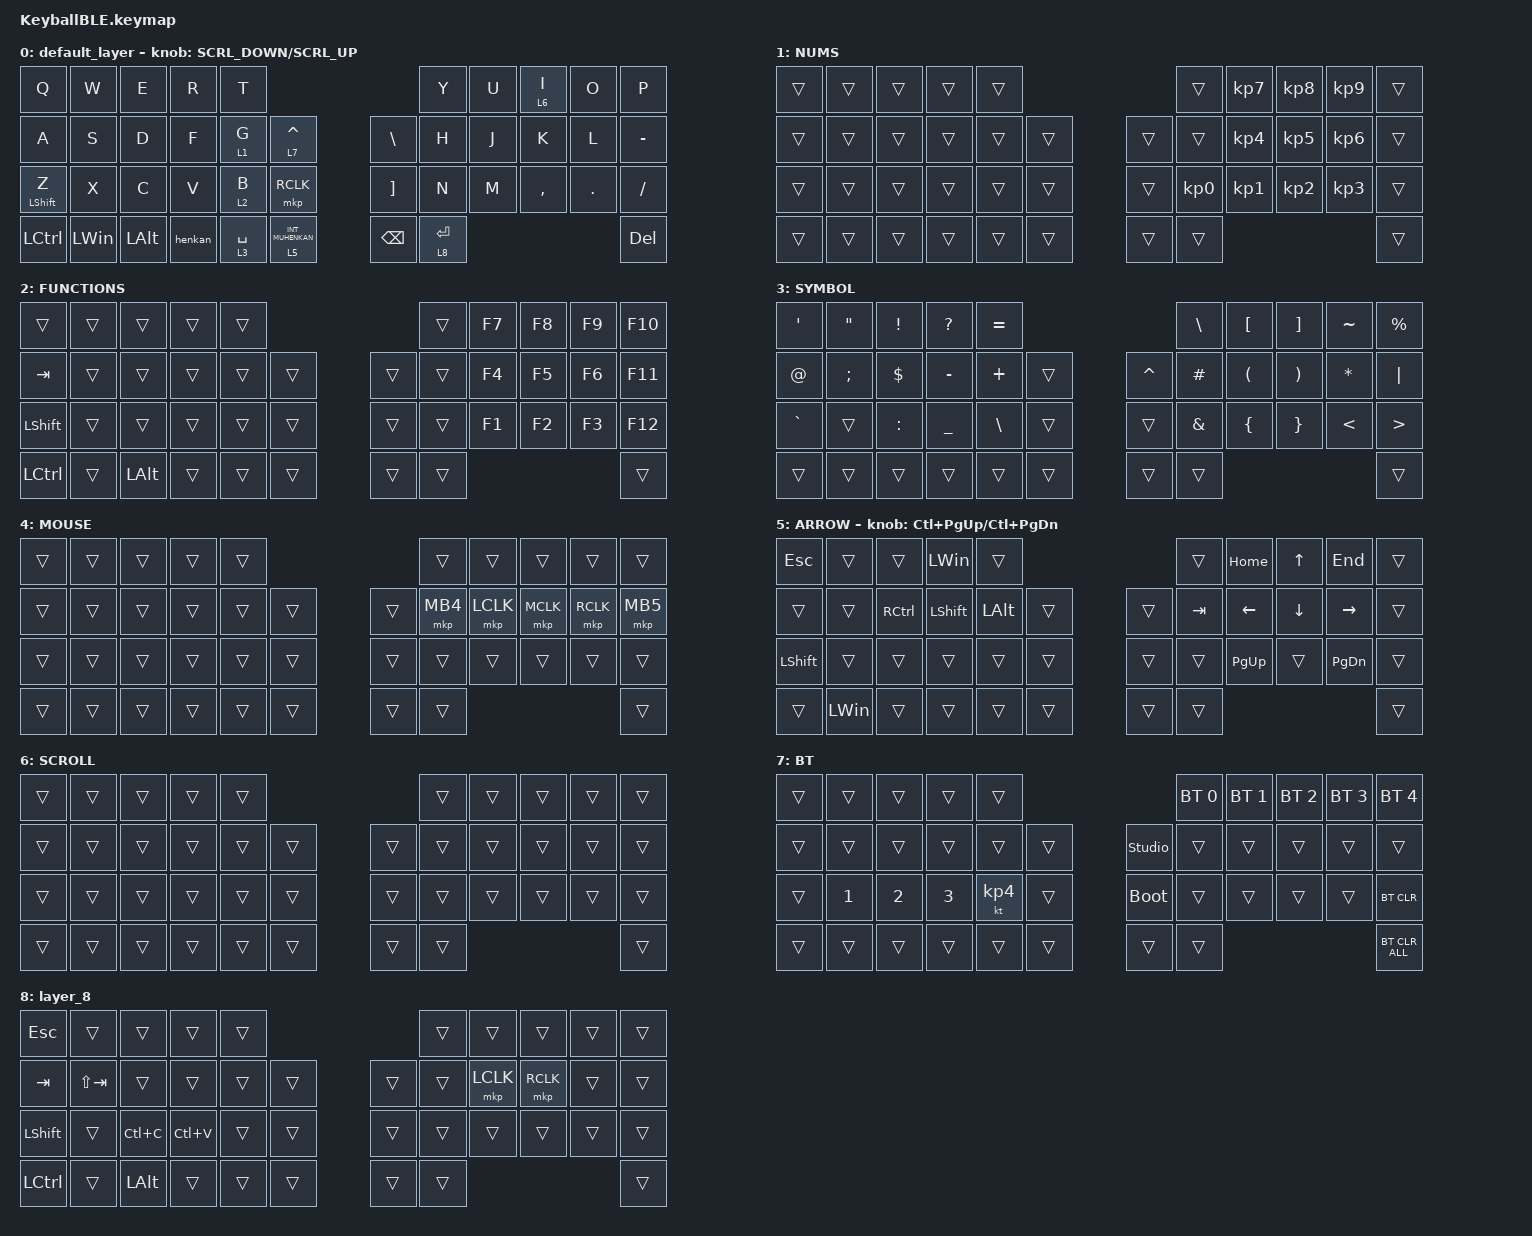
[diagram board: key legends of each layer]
#define ZMK_POINTING_DEFAULT_SCRL_VAL 120    // default: 10

#include <behaviors.dtsi>
#include <dt-bindings/zmk/bt.h>
#include <dt-bindings/zmk/keys.h>
#include <dt-bindings/zmk/pointing.h>

#define MOUSE 4
#define SCROLL 5
#define NUM 6

&mt {
    flavor = "balanced";
    quick-tap-ms = <0>;
};

/ {
    combos {
        compatible = "zmk,combos";

        double_quotation {
            bindings = <&kp DOUBLE_QUOTES>;
            key-positions = <20 21>;
        };
    };

    macros {
        to_layer_0: to_layer_0 {
            compatible = "zmk,behavior-macro-one-param";
            #binding-cells = <1>;
            bindings = <&to 0 &macro_param_1to1 &kp MACRO_PLACEHOLDER>;
            label = "TO_LAYER_0";
        };

        henkan: new_macro {
            compatible = "zmk,behavior-macro";
            #binding-cells = <0>;
            bindings =
                <&macro_press>,
                <&kp LEFT_ALT>,
                <&macro_press>,
                <&kp GRAVE>,
                <&macro_release>,
                <&kp LEFT_ALT>,
                <&macro_release>,
                <&kp GRAVE>;

            label = "NEW_MACRO";
        };
    };

    behaviors {
        lt_to_layer_0: lt_to_layer_0 {
            compatible = "zmk,behavior-hold-tap";
            label = "LAYER_TAP_TO_0";
            bindings = <&mo>, <&to_layer_0>;

            #binding-cells = <2>;
            tapping-term-ms = <200>;
        };

        ROTATE: ROTATE {
            compatible = "zmk,behavior-sensor-rotate-var";
            label = "ROTATE";
            #sensor-binding-cells = <2>;
            bindings = <&msc>, <&msc>;

            tap-ms = <20>;
        };
    };

    keymap {
        compatible = "zmk,keymap";

        default_layer {
            bindings = <
&kp Q             &kp W         &kp E         &kp R    &kp T                                                              &kp Y        &kp U  &lt 6 I    &kp O    &kp P
&kp A             &kp S         &kp D         &kp F    &lt 1 G      &lt_to_layer_0 7 CARET             &kp BACKSLASH      &kp H        &kp J  &kp K      &kp L    &kp MINUS
&mt LEFT_SHIFT Z  &kp X         &kp C         &kp V    &lt 2 B      &mkp RCLK                          &kp RIGHT_BRACKET  &kp N        &kp M  &kp COMMA  &kp DOT  &kp SLASH
&kp LCTRL         &kp LEFT_WIN  &kp LEFT_ALT  &henkan  &lt 3 SPACE  &lt_to_layer_0 5 INT_MUHENKAN      &kp BACKSPACE      &lt 8 ENTER                             &kp DEL
            >;

            sensor-bindings = <&ROTATE SCRL_DOWN SCRL_UP>;
        };

        NUMS {
            bindings = <
&trans  &trans  &trans  &trans  &trans                      &trans           &kp KP_NUMBER_7  &kp KP_NUMBER_8  &kp KP_NUMBER_9  &trans
&trans  &trans  &trans  &trans  &trans  &trans      &trans  &trans           &kp KP_NUMBER_4  &kp KP_NUMBER_5  &kp KP_NUMBER_6  &trans
&trans  &trans  &trans  &trans  &trans  &trans      &trans  &kp KP_NUMBER_0  &kp KP_NUMBER_1  &kp KP_NUMBER_2  &kp KP_NUMBER_3  &trans
&trans  &trans  &trans  &trans  &trans  &trans      &trans  &trans                                                              &trans
            >;
        };

        FUNCTIONS {
            bindings = <
&trans          &trans  &trans        &trans  &trans                      &trans  &kp F7  &kp F8  &kp F9  &kp F10
&kp TAB         &trans  &trans        &trans  &trans  &trans      &trans  &trans  &kp F4  &kp F5  &kp F6  &kp F11
&kp LEFT_SHIFT  &trans  &trans        &trans  &trans  &trans      &trans  &trans  &kp F1  &kp F2  &kp F3  &kp F12
&kp LCTRL       &trans  &kp LEFT_ALT  &trans  &trans  &trans      &trans  &trans                          &trans
            >;
        };

        SYMBOL {
            bindings = <
&kp SQT      &kp DOUBLE_QUOTES  &kp EXCLAMATION  &kp QUESTION    &kp EQUAL                             &kp BACKSLASH  &kp LBKT              &kp RIGHT_BRACKET      &kp TILDE      &kp PERCENT
&kp AT_SIGN  &kp SEMICOLON      &kp DOLLAR       &kp MINUS       &kp PLUS       &trans      &kp CARET  &kp POUND      &kp LEFT_PARENTHESIS  &kp RIGHT_PARENTHESIS  &kp ASTRK      &kp PIPE
&kp GRAVE    &trans             &kp COLON        &kp UNDERSCORE  &kp BACKSLASH  &trans      &trans     &kp AMPERSAND  &kp LEFT_BRACE        &kp RIGHT_BRACE        &kp LESS_THAN  &kp GREATER_THAN
&trans       &trans             &trans           &trans          &trans         &trans      &trans     &trans                                                                     &trans
            >;
        };

        MOUSE {
            bindings = <
&trans  &trans  &trans  &trans  &trans                      &trans    &trans     &trans     &trans     &trans
&trans  &trans  &trans  &trans  &trans  &trans      &trans  &mkp MB4  &mkp LCLK  &mkp MCLK  &mkp RCLK  &mkp MB5
&trans  &trans  &trans  &trans  &trans  &trans      &trans  &trans    &trans     &trans     &trans     &trans
&trans  &trans  &trans  &trans  &trans  &trans      &trans  &trans                                     &trans
            >;
        };

        ARROW {
            bindings = <
&kp ESCAPE      &trans        &trans     &kp LEFT_WIN    &trans                            &trans   &kp HOME     &kp UP_ARROW  &kp END        &trans
&trans          &trans        &kp RCTRL  &kp LEFT_SHIFT  &kp LEFT_ALT  &trans      &trans  &kp TAB  &kp LEFT     &kp DOWN      &kp RIGHT      &trans
&kp LEFT_SHIFT  &trans        &trans     &trans          &trans        &trans      &trans  &trans   &kp PAGE_UP  &trans        &kp PAGE_DOWN  &trans
&trans          &kp LEFT_WIN  &trans     &trans          &trans        &trans      &trans  &trans                                             &trans
            >;

            sensor-bindings = <&inc_dec_kp LC(PAGE_UP) LC(PAGE_DOWN)>;
        };

        SCROLL {
            bindings = <
&trans  &trans  &trans  &trans  &trans                      &trans  &trans  &trans  &trans  &trans
&trans  &trans  &trans  &trans  &trans  &trans      &trans  &trans  &trans  &trans  &trans  &trans
&trans  &trans  &trans  &trans  &trans  &trans      &trans  &trans  &trans  &trans  &trans  &trans
&trans  &trans  &trans  &trans  &trans  &trans      &trans  &trans                          &trans
            >;
        };

        BT {
            bindings = <
&trans  &trans        &trans        &trans        &trans                                 &bt BT_SEL 0  &bt BT_SEL 1  &bt BT_SEL 2  &bt BT_SEL 3  &bt BT_SEL 4
&trans  &trans        &trans        &trans        &trans     &trans      &studio_unlock  &trans        &trans        &trans        &trans        &trans
&trans  &kp NUMBER_1  &kp NUMBER_2  &kp NUMBER_3  &kt KP_N4  &trans      &bootloader     &trans        &trans        &trans        &trans        &bt BT_CLR
&trans  &trans        &trans        &trans        &trans     &trans      &trans          &trans                                                  &bt BT_CLR_ALL
            >;
        };

        layer_8 {
            bindings = <
&kp ESCAPE  &trans       &trans        &trans     &trans                      &trans  &trans     &trans     &trans  &trans
&kp TAB     &kp LS(TAB)  &trans        &trans     &trans  &trans      &trans  &trans  &mkp LCLK  &mkp RCLK  &trans  &trans
&kp LSHFT   &trans       &kp LC(C)     &kp LC(V)  &trans  &trans      &trans  &trans  &trans     &trans     &trans  &trans
&kp LCTRL   &trans       &kp LEFT_ALT  &trans     &trans  &trans      &trans  &trans                                &trans
            >;
        };
    };
};
